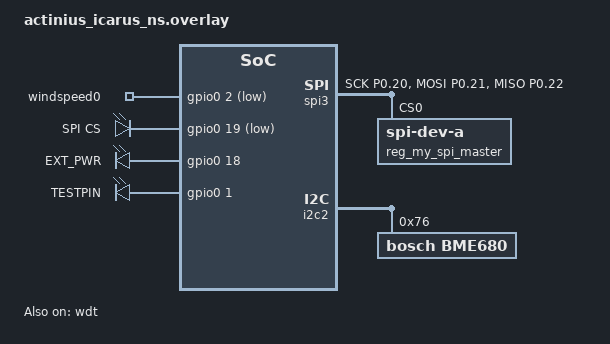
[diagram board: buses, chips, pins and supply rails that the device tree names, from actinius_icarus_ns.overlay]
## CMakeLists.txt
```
#
# Copyright (c) 2019-2022 Actinius
#
# SPDX-License-Identifier: BSD-3-Clause
#

cmake_minimum_required(VERSION 3.8.2)

find_package(Zephyr REQUIRED HINTS $ENV{ZEPHYR_BASE})
project(iss_position)

target_sources(app PRIVATE src/main.c)
target_sources(app PRIVATE src/leds.c)
target_sources(app PRIVATE src/adc.c)
target_sources(app PRIVATE src/health.c)
target_sources(app PRIVATE src/wind_sensor.c)
target_sources(app PRIVATE src/mqtt_connection.c)
target_sources(app PRIVATE src/cameraThread.c)
target_sources(app PRIVATE src/ArducamCamera.c)
target_sources(app PRIVATE src/nrfHal.c)
target_sources(app PRIVATE src/watchdog.c)
```

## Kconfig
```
#
# Copyright (c) 2020 Nordic Semiconductor ASA
#
# SPDX-License-Identifier: LicenseRef-Nordic-5-Clause
#

menu "Annie Momiter"

config MQTT_PRIMARY_TOPIC
	string "MQTT primary topic"
	default "zimbuktu"

config MQTT_CMD_TOPIC
	string "MQTT subscribe sub topic"
	default "zimbuktu/cmd"

config MQTT_CLIENT_ID
	string "MQTT Client ID"
	help
	  Use a custom Client ID string. If not set, the client ID will be
	  generated based on IMEI number (for nRF9160 based targets) or
	  randomly (for other platforms).
	default ""

config MQTT_BROKER_HOSTNAME
	string "MQTT broker hostname"
	default "test.mosquitto.org"

config MQTT_BROKER_PORT
	int "MQTT broker port"
	default 1883

config MQTT_MESSAGE_BUFFER_SIZE
	int "MQTT message buffer size"
	default 128

config MQTT_PAYLOAD_BUFFER_SIZE
	int "MQTT payload buffer size"
	default 128

config BUTTON_EVENT_PUBLISH_MSG
	string "The message to publish on a button event"
	default "Hi from the nRF9160 SiP"

config TURN_LED_ON_CMD
	string "Command to turn on LED"
	default "LED1ON"

config TURN_LED_OFF_CMD
	string "Command to turn off LED"
	default "LED1OFF"

config MQTT_RECONNECT_DELAY_S
	int "Seconds to delay before attempting to reconnect to the broker."
	default 60

config TEMP_DATA_USE_SENSOR
	bool "Use genuine temperature data"
	depends on BOARD_THINGY91_NRF9160_NS
	default y if BOARD_THINGY91_NRF9160_NS
	select SENSOR
	select BME680
	help
	  Sets whether to take genuine temperature measurements from a
	  connected BME680 sensor, or just simulate sensor data.
	  
endmenu

source "Kconfig.zephyr"
```

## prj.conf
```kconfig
CONFIG_LOG=y
CONFIG_LOG_DEFAULT_LEVEL=4

CONFIG_ENTROPY_GENERATOR=y
CONFIG_TEST_RANDOM_GENERATOR=y

CONFIG_MAIN_STACK_SIZE=4096
# Data Time
CONFIG_DATE_TIME=y
CONFIG_DATE_TIME_AUTO_UPDATE=y
CONFIG_NEWLIB_LIBC=y

# Networking
CONFIG_NETWORKING=y
CONFIG_NET_NATIVE=n
CONFIG_NET_SOCKETS_OFFLOAD=y

# Sockets
CONFIG_NET_SOCKETS=y
CONFIG_NET_SOCKETS_POSIX_NAMES=y

# Nordic REST client
CONFIG_REST_CLIENT=y

# Modem
CONFIG_NRF_MODEM_LIB=y
CONFIG_LTE_LINK_CONTROL=y
CONFIG_LTE_NETWORK_TIMEOUT=120
CONFIG_LTE_AUTO_INIT_AND_CONNECT=n
#CONFIG_MODEM_KEY_MGMT=y
CONFIG_MODEM_INFO=y

# JSON
#CONFIG_JSON_LIBRARY=y

# MCUBoot
CONFIG_BOOTLOADER_MCUBOOT=y

# watchdog
CONFIG_WATCHDOG=y

# MQTT
												   
CONFIG_MQTT_LIB=y
CONFIG_MQTT_CLEAN_SESSION=y

CONFIG_MQTT_PRIMARY_TOPIC="zimbuktu"
CONFIG_MQTT_CMD_TOPIC="zimbuktu/cmd"
# CONFIG_MQTT_BROKER_HOSTNAME="test.mosquitto.org"
# CONFIG_MQTT_BROKER_HOSTNAME="broker.hivemq.com"
CONFIG_MQTT_BROKER_HOSTNAME="107.174.172.150"
CONFIG_MQTT_CLIENT_ID="wind_sensor_client"
CONFIG_MQTT_BROKER_PORT=1883
CONFIG_MQTT_MESSAGE_BUFFER_SIZE=1024
CONFIG_MQTT_RECONNECT_DELAY_S=60

# Main thread
CONFIG_MAIN_STACK_SIZE=4096

CONFIG_HEAP_MEM_POOL_SIZE=2048

# Enable ADC for wind direction
CONFIG_ADC=y

# CONFIG_TEMP_DATA_USE_SENSOR=y

CONFIG_GPIO=y
CONFIG_SPI=y
CONFIG_SPI_ASYNC=y

CONFIG_I2C=y
CONFIG_SENSOR=y
```

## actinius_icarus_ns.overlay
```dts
// To get started, press Ctrl+Space to bring up the completion menu and view the available nodes.

// You can also use the buttons in the sidebar to perform actions on nodes.
// Actions currently available include:

// * Enabling / disabling the node
// * Adding the bus to a bus
// * Removing the node
// * Connecting ADC channels

// For more help, browse the DeviceTree documentation at https: //docs.zephyrproject.org/latest/guides/dts/index.html
// You can also visit the nRF DeviceTree extension documentation at https: //nrfconnect.github.io/vscode-nrf-connect/devicetree/nrfdevicetree.html
/{
	wind_speed {
		compatible = "gpio-keys";
		windspeed0: wind_speed_0 {
			gpios = <&gpio0 2 (GPIO_ACTIVE_LOW | GPIO_PULL_UP)>;
		};
	};
	leds {
		gpio_spi_cs: spi_cs {
			gpios = <&gpio0 19 GPIO_ACTIVE_LOW>;
			label = "SPI CS";
		};
		gpio_ext_pwr: ext_pwr {
			gpios = <&gpio0 18 GPIO_ACTIVE_HIGH>;
			label = "EXT_PWR";
		};
		gpio_testpin: testpin {
			gpios = <&gpio0 1 GPIO_ACTIVE_HIGH>;
			label = "TESTPIN";
		};
	};

	aliases {
		windspeed0 = &windspeed0;
		cs0 = &gpio_spi_cs;
		extpwr = &gpio_ext_pwr;
		testpin = &gpio_testpin;
	};
};

&sim_select {
	sim = "external";
};

&pwm0 {
	status = "disabled";
};

&pinctrl {
	spi_master_default: spi_master_default {
		group1 {
			psels = <NRF_PSEL(SPIM_SCK, 0, 20)>,
			        <NRF_PSEL(SPIM_MOSI, 0, 21)>,
			        <NRF_PSEL(SPIM_MISO, 0, 22)>;
		};
	};

	spi_master_sleep: spi_master_sleep {
		group1 {
			psels = <NRF_PSEL(SPIM_SCK, 0, 20)>,
			        <NRF_PSEL(SPIM_MOSI, 0, 21)>,
			        <NRF_PSEL(SPIM_MISO, 0, 22)>;
			low-power-enable;
		};
	};
};

my_spi_master: &spi3 {
	compatible = "nordic,nrf-spim";
	status = "okay";
	pinctrl-0 = <&spi_master_default>;
	pinctrl-1 = <&spi_master_sleep>;
	pinctrl-names = "default", "sleep";
	//    cs-gpios = <&gpio0 19 GPIO_ACTIVE_LOW>;
	reg_my_spi_master: spi-dev-a@0 {
		reg = <0>;
	};
};

&wdt {
	status = "okay";
};

&i2c2 {
	bme680@76 {
		compatible = "bosch,bme680";
		reg = <0x76>;
	};
};
```

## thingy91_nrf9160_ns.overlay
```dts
// To get started, press Ctrl+Space to bring up the completion menu and view the available nodes.

// You can also use the buttons in the sidebar to perform actions on nodes.
// Actions currently available include:

// * Enabling / disabling the node
// * Adding the bus to a bus
// * Removing the node
// * Connecting ADC channels

// For more help, browse the DeviceTree documentation at https: //docs.zephyrproject.org/latest/guides/dts/index.html
// You can also visit the nRF DeviceTree extension documentation at https: //nrfconnect.github.io/vscode-nrf-connect/devicetree/nrfdevicetree.html


/{
    wind_speed {
        compatible = "gpio-keys";
        windspeed0: wind_speed_0 {
            gpios = <&gpio0 10 (GPIO_PULL_UP | GPIO_ACTIVE_LOW)>;
        };
    };

	power_enable {
		compatible = "gpio-leds";
		fanenable: nmos_2 {
			gpios = <&gpio0 15 (GPIO_ACTIVE_HIGH)>;
			label = "fan power enable";
		};
		boostenable: nmos_3 {
			gpios = <&gpio0 16 (GPIO_ACTIVE_HIGH)>;
			label = "12v boost enable";
		};

	};
    aliases {
		windspeed0 = &windspeed0;
		fanenable = &fanenable;
		boostenable = &boostenable;
		temp-sensor = &bme680;
    };
	nrf52840_reset: gpio-reset {
		status = "disabled";
	};

};


&i2c2 {
bme680: bme680@76 {};
};

&pinctrl {
	pwm2_default: pwm2_default {
		group1 {
			psels = <NRF_PSEL(PWM_OUT0, 0, 13)>,
				<NRF_PSEL(PWM_OUT1, 0, 14)>;
		};
	};

	pwm2_sleep: pwm2_sleep {
		group1 {
			psels = <NRF_PSEL(PWM_OUT0, 0, 13)>,
				<NRF_PSEL(PWM_OUT1, 0, 14)>;

			low-power-enable;
		};
	};
};
```

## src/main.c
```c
/*
 * Copyright (c) 2019-2022 Actinius
 *
 * SPDX-License-Identifier: BSD-3-Clause
 */

#include <stdio.h>
#include <zephyr/kernel.h>
#include <zephyr/net/socket.h>
#include <modem/lte_lc.h>
#include <zephyr/drivers/gpio.h>

#include <zephyr/net/mqtt.h>
#include <date_time.h>
#include <modem/modem_info.h>

#include "mqtt_connection.h"
#include "wind_sensor.h"

#include "leds.h"
#include "adc.h"
#include "health.h"
#include "cameraThread.h"
#include "watchdog.h"

LOG_MODULE_REGISTER(main, LOG_LEVEL_INF);

extern int setenv(const char *name, const char *value, int overwrite);

static K_SEM_DEFINE(lte_connected, 0, 1);

#define TOPIC_STR "zimbuktu2/testing"

static void lte_handler(const struct lte_lc_evt *const evt)
{
    switch (evt->type)
    {
    case LTE_LC_EVT_NW_REG_STATUS:
        if ((evt->nw_reg_status != LTE_LC_NW_REG_REGISTERED_HOME) &&
            (evt->nw_reg_status != LTE_LC_NW_REG_REGISTERED_ROAMING))
        {
            break;
        }
        LOG_DBG("Network registration status: %s\n",
                evt->nw_reg_status == LTE_LC_NW_REG_REGISTERED_HOME ? "Connected - home network" : "Connected - roaming");
        k_sem_give(&lte_connected);
        break;
    case LTE_LC_EVT_RRC_UPDATE:
        LOG_DBG("RRC mode: %s\n", evt->rrc_mode == LTE_LC_RRC_MODE_CONNECTED ? "Connected" : "Idle");
        break;
    default:
        break;
    }
}

static void modem_configure(void)
{
    LOG_INF("Connecting to LTE network\n");

    int err = lte_lc_init_and_connect_async(lte_handler);
    if (err)
    {
        LOG_ERR("Modem could not be configured, error: %d\n", err);
        return;
    }
    k_sem_take(&lte_connected, K_FOREVER);
    turn_leds_on_with_color(CYAN);

    err = modem_info_init();
    if (err)
    {
        LOG_ERR("Failed to initialize modem info: %d", err);
    }
    
    LOG_INF("Connected to LTE network\n");
}

void main(void)
{
    int err;

    init_leds();
    turn_leds_on_with_color(WHITE);

    watchdog_init_and_start();

    init_adc();

    modem_configure();

    turn_leds_on_with_color(YELLOW);
    k_msleep(2000);
    cameraThreadInit();

    err = client_init();
    if (err)
    {
        LOG_ERR("Failed to initialize MQTT client: %d\n", err);
        return;
    }
    setenv("TZ", "PST8PDT", 1);
    struct _reent r;
    _tzset_r(&r);

    init_wind_sensor();
    init_health();

    mqtt_idleloop(); // does not return
}
```

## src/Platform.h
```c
/*
 * This file is part of the Arducam SPI Camera project.
 *
 * Copyright 2021 Arducam Technology co., Ltd. All Rights Reserved.
 *
 * This work is licensed under the MIT license, see the file LICENSE for details.
 *
 */

#ifndef __PLATFORM_H
#define __PLATFORM_H

#include "nrfHal.h"


#if defined(STM32F10X_MD)
#include "Stm32Hal.h"
#elif defined(__AVR__) || defined(__SAM3X8E__) || defined(ESP32) || defined(ESP8266) ||                                \
    defined(ARDUINO_ARCH_NRF52840) || defined(ARDUINO_ARCH_RP2040) || defined(NRF52833_XXAA) || defined(ARDUINO_ARCH_RENESAS)
#include "ArduinoHal.h"
#elif defined(__MSP430G2553__)
#include "Msp430Hal.h"
#elif defined(__XC32)
#include "Same54Hal.h"
#elif defined(PICO_BOARD)
#include "picoHal.h"
#elif defined(__PLATFORM_RASPBERRY)
#include "raspberryHal.h"
#elif defined(ESP_PLATFORM)
#include "esp32Hal.h"
#endif
#endif /*__PLATFORM_H*/
```

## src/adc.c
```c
#include <zephyr/drivers/adc.h>
#include "adc.h"
#include <zephyr/logging/log.h>
LOG_MODULE_REGISTER(adc, LOG_LEVEL_INF);

#define BATVOLT_R1 4.7f			 // MOhm
#define BATVOLT_R2 10.0f		 // MOhm
#define INPUT_VOLT_RANGE 3.67f	 // Volts
#define VALUE_RANGE_10_BIT 1.023 // (2^10 - 1) / 1000

#define ADC_NODE DT_NODELABEL(adc)

#define ADC_RESOLUTION 10
#define ADC_GAIN ADC_GAIN_1_6
#define ADC_REFERENCE ADC_REF_INTERNAL
#define ADC_ACQUISITION_TIME ADC_ACQ_TIME(ADC_ACQ_TIME_MICROSECONDS, 10)
#define ADC_1ST_CHANNEL_INPUT SAADC_CH_PSELP_PSELP_AnalogInput0
#define ADC_2ND_CHANNEL_INPUT SAADC_CH_PSELP_PSELP_AnalogInput2

#define BUFFER_SIZE 1
static int16_t m_sample_buffer[BUFFER_SIZE];

static const struct device *adc_dev;

// Battery voltage ADC
static const struct adc_channel_cfg m_battery_channel_cfg = {
	.gain = ADC_GAIN,
	.reference = ADC_REFERENCE,
	.acquisition_time = ADC_ACQUISITION_TIME,
	.channel_id = ADC_BATTERY_VOLTAGE_ID,
	.input_positive = ADC_1ST_CHANNEL_INPUT,
};

// Wind direction ADC
static const struct adc_channel_cfg m_windspeed_channel_cfg = {
	.gain = ADC_GAIN,
	.reference = ADC_REFERENCE,
	.acquisition_time = ADC_ACQUISITION_TIME,
	.channel_id = ADC_WIND_DIR_ID,
	.input_positive = ADC_2ND_CHANNEL_INPUT,
};

// Get battery voltage in millivolts, return 0 if successful
int get_adc_voltage(uint8_t channel, uint16_t *battery_voltage)
{
	int err;

	const struct adc_sequence sequence = {
		.channels = BIT(channel),
		.buffer = m_sample_buffer,
		.buffer_size = sizeof(m_sample_buffer), // in bytes!
		.resolution = ADC_RESOLUTION,
	};

	if (!adc_dev)
	{
		return -1;
	}

	err = adc_read(adc_dev, &sequence);
	if (err)
	{
		LOG_WRN("ADC read err: %d\n", err);

		return err;
	}

	float sample_value = 0;
	for (int i = 0; i < BUFFER_SIZE; i++)
	{
		sample_value += (float)m_sample_buffer[i];
	}
	//	printk("   buf: %d\n", m_sample_buffer[0] );
	sample_value /= BUFFER_SIZE;
	*battery_voltage = (uint16_t)(sample_value * (INPUT_VOLT_RANGE / VALUE_RANGE_10_BIT));
	//	*battery_voltage = (uint16_t)(sample_value * (INPUT_VOLT_RANGE / VALUE_RANGE_10_BIT) * ((BATVOLT_R1 + BATVOLT_R2) / BATVOLT_R2));

	return 0;
}

// initalize all ADC channels
bool init_adc()
{
	int err;

	adc_dev = DEVICE_DT_GET(ADC_NODE);
	if (!adc_dev)
	{
		LOG_WRN("Error getting adc failed\n");

		return false;
	}

	err = adc_channel_setup(adc_dev, &m_battery_channel_cfg);
	if (err)
	{
		LOG_WRN("Error in adc setup: %d\n", err);

		return false;
	}

	err = adc_channel_setup(adc_dev, &m_windspeed_channel_cfg);
	if (err)
	{
		LOG_WRN("Error in adc setup: %d\n", err);

		return false;
	}

	return true;
}
```

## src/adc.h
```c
#ifndef _ADC_H_
#define _ADC_H_

// ADC Channel IDs
#define ADC_BATTERY_VOLTAGE_ID 0
#define ADC_WIND_DIR_ID 1
#define ADC_TEMPERATURE_ID 2

/**
 * @brief Take a temperature sample.
 *
 * Value will either be a real sensor value taken from a sensor with device tree alias temp_sensor,
 * (if CONFIG_TEMP_DATA_USE_SENSOR is set) or will otherwise be a pseudorandom dummy reading.
 *
 * @param[out] temp - Pointer to the double to be filled with the taken temperature sample.
 * @return int - 0 on success, otherwise, negative error code.
 */
int get_adc_voltage(uint8_t channel, uint16_t *battery_voltage);
int get_temperature();
bool init_adc();

#endif /* _ADC_H_ */
```

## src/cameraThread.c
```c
#include <zephyr/kernel.h>
#include <stdio.h>
#include <stdlib.h>
#include <string.h>
#include <zephyr/net/mqtt.h>
#include "ArducamCamera.h"
#include "mqtt_connection.h"
#include "cameraThread.h"
#include "ArducamCamera.h"

#include <modem/modem_info.h>
#include "health.h"
#include "leds.h"

#define PIC_BUFFER_SIZE 1024 // CONFIG_MQTT_MESSAGE_BUFFER_SIZE
#define PIC_SEND_LENGTH 256	 // z should be PIC_BUFFER_SIZE, but there's corruption
// #define PIC_SEND_LENGTH 512	 // z should be PIC_BUFFER_SIZE, but there's corruption
#define WORK_DELAY 400 // image dim if quick startup
#define PICT_DELAY 1
#define START_DELAY 1
#define DATA_DELAY 200 // image fails if too quick
#define END_DELAY 1

#define CAMERA_THREAD_STACK_SIZE 4096
#define WORKQ_PRIORITY 4
#define MAX_CMD 10

static K_THREAD_STACK_DEFINE(camera_stack_area, CAMERA_THREAD_STACK_SIZE);
static struct k_work_q camera_work_q = {0};
struct work_info
{
	struct k_work work;
	char cmd;
	uint32_t param;
} camera_work;

ArducamCamera camera;
static bool sending = false;

/*
b brightness
c contrast
d color effect
e ev level
f autofocus
g autoexposure
h absoluteexposure
i isosensitivity
j autoiso
l lowpower
m send camera data out serial port
n create fake camera data
o send serial buffer
p picture
q imagequality
r reset
s sharpness
u saturation
w white balance
x white balance mode
*/
const char *singlecharcmds = "efhlmnopqsz";
// const char *singlecharcmds = "bcdefghijlmnopqrsuwx";

struct image_mode_t
{
	uint8_t mode;
	uint32_t min;
	uint32_t max;
};

const struct image_mode_t image_modes[] = {
	{CAM_IMAGE_MODE_96X96, 200, 8000},
	{CAM_IMAGE_MODE_128X128, 200, 12000},
	{CAM_IMAGE_MODE_QVGA, 1000, 45000},
	{CAM_IMAGE_MODE_320X320, 1000, 55000},
	{CAM_IMAGE_MODE_VGA, 1000, 150000},
	{CAM_IMAGE_MODE_HD, 2000, 500000},
	{CAM_IMAGE_MODE_UXGA, 200, 700000},
	{CAM_IMAGE_MODE_FHD, 200, 800000},
	{CAM_IMAGE_MODE_WQXGA2, 200, 1500000}};

static uint8_t pic_buffer[PIC_BUFFER_SIZE];

int network_info_log(int param)
{
	char sbuf[40];
	char msgbuf[100];
	switch (param)
	{
	case 0:
		modem_info_string_get(MODEM_INFO_RSRP, sbuf, sizeof(sbuf));
		snprintf(msgbuf, 100, "Signal strength: %s\n", sbuf);
		break;
	case 1:
		modem_info_string_get(MODEM_INFO_CUR_BAND, sbuf, sizeof(sbuf));
		snprintf(msgbuf, 100, "Current LTE band: %s\n", sbuf);
		break;
	}
	printk("%s", msgbuf);
	data_publish(MQTT_QOS_1_AT_LEAST_ONCE, msgbuf, strlen(msgbuf), "zimbuktu/modem", 0);

	// modem_info_string_get(MODEM_INFO_SUP_BAND, sbuf, sizeof(sbuf));
	// printk("Supported LTE bands: %s\n", sbuf);
	// modem_info_string_get(MODEM_INFO_AREA_CODE, sbuf, sizeof(sbuf));
	// printk("Tracking area code: %s\n", sbuf);
	// modem_info_string_get(MODEM_INFO_UE_MODE, sbuf, sizeof(sbuf));
	// printk("Current mode: %s\n", sbuf);
	// modem_info_string_get(MODEM_INFO_OPERATOR, sbuf, sizeof(sbuf));
	// printk("Current operator name: %s\n", sbuf);
	// modem_info_string_get(MODEM_INFO_CELLID, sbuf, sizeof(sbuf));
	// printk("Cell ID of the device: %s\n", sbuf);
	// modem_info_string_get(MODEM_INFO_IP_ADDRESS, sbuf, sizeof(sbuf));
	// printk("IP address of the device: %s\n", sbuf);
	// modem_info_string_get(MODEM_INFO_FW_VERSION, sbuf, sizeof(sbuf));
	// printk("Modem firmware version: %s\n", sbuf);
	// modem_info_string_get(MODEM_INFO_LTE_MODE, sbuf, sizeof(sbuf));
	// printk("LTE-M support mode: %s\n", sbuf);
	// modem_info_string_get(MODEM_INFO_NBIOT_MODE, sbuf, sizeof(sbuf));
	// printk("NB-IoT support mode: %s\n", sbuf);
	// modem_info_string_get(MODEM_INFO_GPS_MODE, sbuf, sizeof(sbuf));
	// printk("GPS support mode: %s\n", sbuf);
	// modem_info_string_get(MODEM_INFO_DATE_TIME, sbuf, sizeof(sbuf));
	// printk("Mobile network time and date: %s\n", sbuf);
	// printk("===============================");
	return 0;
}

bool sending_photo()
{
	return sending;
}
static uint8_t exposure = 0;
static uint8_t sharpness = 0;
static uint8_t focus = 4;
static uint8_t quality = 1;

int app_take_pict(uint8_t mode_index)
{
	uint8_t mode = image_modes[mode_index].mode;
	int err;
	int length = PIC_SEND_LENGTH;

	sending = true;
	if (takePicture(&camera,
					mode,
					CAM_IMAGE_PIX_FMT_JPG,
					exposure,
					sharpness,
					focus,
					quality) == CAM_ERR_TIMEOUT)
		return CAM_ERR_TIMEOUT;

	k_msleep(PICT_DELAY);
	printk("image size= %d\n", camera.receivedLength);

	if (camera.receivedLength < image_modes[mode_index].min ||
		camera.receivedLength > image_modes[mode_index].max)
	{
		sprintf(pic_buffer, "%d < %d %d", image_modes[mode_index].min, camera.receivedLength, image_modes[mode_index].max);
		err = data_publish(MQTT_QOS_1_AT_LEAST_ONCE, pic_buffer, strlen(pic_buffer), "zimbuktu/jpgError", 0);
		sending = false;
		printk("Length error\n");
		return CAM_ERR_LENGTH;
	}
	sprintf(pic_buffer, "%d", camera.receivedLength);
	err = data_publish(MQTT_QOS_1_AT_LEAST_ONCE, pic_buffer, strlen(pic_buffer), "zimbuktu/jpgStart", 0);

	k_msleep(START_DELAY);

	while (camera.receivedLength > 0)
	{
		printk(".");
		if (camera.receivedLength <= PIC_SEND_LENGTH)
		{
			printk("&");

			length = camera.receivedLength;
		}
		printk("-");

		readBuff(&camera, pic_buffer, length);
		printk("+");

		// for (int i = 0; i < length; ++i)
		// {
		// 	pic_buffer[i] = readByte(&camera);
		// }
		err = data_publish(MQTT_QOS_1_AT_LEAST_ONCE, pic_buffer, length, "zimbuktu/jpgData", 0);
		printk("!");

		k_msleep(DATA_DELAY);
	}
	printk("*");

	err = data_publish(MQTT_QOS_1_AT_LEAST_ONCE, "E", 1, "zimbuktu/jpgEnd", 0);
	k_msleep(END_DELAY);

	sending = false;
	return CAM_ERR_SUCCESS;
}

#define PBSIZE 256
static char uartbuf[PBSIZE*2 + 20];
int app_take_pict_serial_buffer(uint8_t mode_index)
{
	uint8_t mode = image_modes[mode_index].mode;
	
	printk("tpq=%d\n", quality);

	sending = true;
	if (takePicture(&camera,
					mode,
					CAM_IMAGE_PIX_FMT_JPG,
					exposure,
					sharpness,
					focus,
					quality) == CAM_ERR_TIMEOUT)
		return CAM_ERR_TIMEOUT;

	printk("START\n");
	printk("length= %d\n", camera.totalLength);

	if (camera.receivedLength < image_modes[mode_index].min ||
		camera.receivedLength > image_modes[mode_index].max)
	{
		sprintf(pic_buffer, "%d < %d %d", image_modes[mode_index].min, camera.receivedLength, image_modes[mode_index].min);
		printk("Length error\n");

		sending = false;
		return CAM_ERR_LENGTH;
	}

	int len = 0;
	while (camera.receivedLength > 0)
	{
		if (PBSIZE < camera.receivedLength)
			len = (PBSIZE < camera.receivedLength) ? PBSIZE : camera.receivedLength;
		if (len == 0)
			break;
		readBuff(&camera, pic_buffer, len);

		char *p = uartbuf;
		for (int i = 0; i < len; ++i)
		{
			p += snprintk(p, 3, "%02x", pic_buffer[i]);
		}
		printk("%s\n", uartbuf);
		k_msleep(DATA_DELAY);
	}
	printk("\nEND\n");
	sending = false;

	return CAM_ERR_SUCCESS;
}

void camera_work_handler(struct k_work *work)
{
	struct work_info *pinfo = CONTAINER_OF(work, struct work_info, work);
	
	switch (pinfo->cmd)
	{
	case 'e':
		exposure = pinfo->param;
		return;
	case 's':
		sharpness = pinfo->param;
		return;
	case 'f':
		focus = pinfo->param;
		return;
	case 'q':
		quality = pinfo->param;
		printk("set q=%d\n", quality);

		return;

	case 'h':
		report_status_info(pinfo->param);
		return;

	case 'l':
		set_led_mode(pinfo->param);
		return;

	case 'p':
	{
		int err = begin(&camera);
		if (CAM_ERR_SUCCESS == err)
		{
			k_msleep(WORK_DELAY);
			app_take_pict(pinfo->param % sizeof(image_modes));
		}
		else
		{
			printk("init failed\n");
		}
		cameraComplete(&camera);
		return;
	}
	case 'o':
	{
		int err = begin(&camera);
		if (CAM_ERR_SUCCESS == err)
		{
			k_msleep(WORK_DELAY);
			app_take_pict_serial_buffer(pinfo->param % sizeof(image_modes));
		}
		else
		{
			printk("init failed\n");
		}
		cameraComplete(&camera);
		return;
	}

	case 'z':
		network_info_log(pinfo->param);
		return;
	}
}

void cameraCommand(char *cmd)
{
	int err;

	if ((strlen(cmd) >= 2) && (strchr(singlecharcmds, cmd[0])))
	{
		if (cmd[0] == 'z' && cmd[1] == '!')
		{
			// reset the system immediately
			NVIC_SystemReset();
			while (1)
				;
		}

		camera_work.cmd = cmd[0];
		camera_work.param = atoi(&cmd[1]);
		err = k_work_submit_to_queue(&camera_work_q, &camera_work.work);
		printk("qsubmit: %d\n", err);
	}
	else
	{
		printk("invalid command: %s\n", cmd);
	}
}

void cameraThreadInit()
{
	printk("camera init start\n");
	camera = createArducamCamera(1);

	k_work_queue_start(&camera_work_q, camera_stack_area,
					   K_THREAD_STACK_SIZEOF(camera_stack_area), WORKQ_PRIORITY,
					   NULL);

	k_work_init(&camera_work.work, camera_work_handler);
	printk("camera init complete\n");
}
```

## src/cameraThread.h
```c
#ifndef __CAMERA_H
#define __CAMERA_H

bool sending_photo();
void cameraCommand(char *cmd);
void cameraThreadInit();
#endif /*__CAMERA_H*/
```

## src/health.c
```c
#include <zephyr/drivers/gpio.h>
#include <zephyr/drivers/sensor.h>
#include <zephyr/kernel.h>
#include <date_time.h>
#include <zephyr/net/mqtt.h>
#include <stdio.h>

#include "leds.h"
#include "health.h"
#include "adc.h"
#include "mqtt_connection.h"
#include <zephyr/logging/log.h>
LOG_MODULE_REGISTER(health, LOG_LEVEL_INF);

#define NUM_PWR 12

int n_pwr = NUM_PWR - 1;
uint16_t volts[NUM_PWR];
struct sensor_value temperature[NUM_PWR];
struct sensor_value pressure[NUM_PWR];
struct sensor_value humidity[NUM_PWR];

static uint16_t current_volts;

const struct device *const dev = DEVICE_DT_GET_ONE(bosch_bme680);

#define BATVOLT_R1 4.7f
#define BATVOLT_R2 10.0f

static int get_battery_voltage()
{
	uint16_t volts;
	int corrected;

	get_adc_voltage(ADC_BATTERY_VOLTAGE_ID, &volts);
	corrected = (volts * ((BATVOLT_R1 + BATVOLT_R2) / BATVOLT_R2));
	LOG_DBG("battery %d  %d\n", volts, corrected);
	return corrected;
}

void convert_to_farhenheit(struct sensor_value *temp)
{
	long tmp = (temp->val1 * 1000 + temp->val2 / 1000) * 9 / 5 + 32000;
	temp->val1 = tmp / 1000;
	temp->val2 = (tmp % 1000 + 50) / 100;
}


static void report_power(uint8_t *buf)
{
	struct sensor_value gas_res;
	current_volts = get_battery_voltage();
	volts[n_pwr] = current_volts;

	sensor_sample_fetch(dev);
	sensor_channel_get(dev, SENSOR_CHAN_AMBIENT_TEMP, &temperature[n_pwr]);
	convert_to_farhenheit(&temperature[n_pwr]);
	sensor_channel_get(dev, SENSOR_CHAN_PRESS, &pressure[n_pwr]);
	pressure[n_pwr].val2 = pressure[n_pwr].val2 / 10000;
	sensor_channel_get(dev, SENSOR_CHAN_HUMIDITY, &humidity[n_pwr]);
	sensor_channel_get(dev, SENSOR_CHAN_GAS_RES, &gas_res);

	buf += sprintf(buf, "{\"pwr\":[");

	for (int i = n_pwr; i < NUM_PWR + n_pwr; ++i)
	{
		buf += sprintf(buf, "[%d, %d.%d],",
					   volts[i % NUM_PWR],
					   temperature[i % NUM_PWR].val1, temperature[i % NUM_PWR].val2);
		// buf += sprintf(buf, "[%d, %d.%d, %d.%02d, %d],",
		// 			   volts[i % NUM_PWR],
		// 			   temperature[i % NUM_PWR].val1, temperature[i % NUM_PWR].val2,
		// 			   pressure[i % NUM_PWR].val1, pressure[i % NUM_PWR].val2, 
		// 			   humidity[i % NUM_PWR].val1 );
	}
	--buf; // remove the last comma
	sprintf(buf, "]}");
	printk("power report: %s\n", buf);
	n_pwr = (n_pwr - 1 + NUM_PWR) % NUM_PWR;
}

void publish_health_data()
{
	int err;

	uint8_t *msgbuf = get_mqtt_message_buf();
	uint8_t *topicbuf = get_mqtt_topic_buf();

	report_power(msgbuf);
	sprintf(topicbuf, "%s/health", CONFIG_MQTT_PRIMARY_TOPIC);

	time_t now;
	now = time(NULL);
	struct tm tm;
	gmtime_r(&now, &tm);

	if (tm.tm_hour == 20)
	{  // send health data at 6 am or 8 pm
		err = data_publish(MQTT_QOS_1_AT_LEAST_ONCE,
						msgbuf, strlen(msgbuf), topicbuf, 1);
		if (err)
		{
			LOG_WRN("Failed to send pwr message, %d\n", err);
			return;
		}
		update_led_mode();  // turn off the led
	}

}

static void publish_volts()
{
	uint8_t msgbuf[256];
	uint8_t * buf;
	char * topic = CONFIG_MQTT_PRIMARY_TOPIC"/volt";

	buf = msgbuf;
	buf += sprintf(buf, "{\"volt\":[");

	for (int i = n_pwr+1; i < NUM_PWR + n_pwr+1; ++i)
	{
		buf += sprintf(buf, "%d,", volts[i % NUM_PWR]);
	}
	--buf; // remove the last comma
	sprintf(buf, "]}");

	data_publish(MQTT_QOS_1_AT_LEAST_ONCE, msgbuf, strlen(msgbuf), topic, 0);
}

static void publish_temperature()
{
	uint8_t msgbuf[256];
	uint8_t * buf;
	char * topic = CONFIG_MQTT_PRIMARY_TOPIC"/temp";

	buf = msgbuf;
	buf += sprintf(buf, "{\"temp\":[");

	for (int i = n_pwr+1; i < NUM_PWR + n_pwr+1; ++i)
	{
		buf += sprintf(buf, "%d.%d,", temperature[i % NUM_PWR].val1, temperature[i % NUM_PWR].val2);
	}
	--buf; // remove the last comma
	sprintf(buf, "]}");

	data_publish(MQTT_QOS_1_AT_LEAST_ONCE, msgbuf, strlen(msgbuf), topic, 0);
}

static void publish_pressure()
{
	uint8_t msgbuf[256];
	uint8_t * buf;
	char * topic = CONFIG_MQTT_PRIMARY_TOPIC"/pres";

	buf = msgbuf;
	buf += sprintf(buf, "{\"pres\":[");

	for (int i = n_pwr+1; i < NUM_PWR + n_pwr+1; ++i)
	{
		buf += sprintf(buf, "%d.%02d,", pressure[i % NUM_PWR].val1, pressure[i % NUM_PWR].val2);
	}
	--buf; // remove the last comma
	sprintf(buf, "]}");

	data_publish(MQTT_QOS_1_AT_LEAST_ONCE, msgbuf, strlen(msgbuf), topic, 0);
}

static void publish_humidity()
{
	uint8_t msgbuf[256];
	uint8_t * buf;
	char * topic = CONFIG_MQTT_PRIMARY_TOPIC"/humd";

	buf = msgbuf;
	buf += sprintf(buf, "{\"humd\":[");

	for (int i = n_pwr+1; i < NUM_PWR + n_pwr+1; ++i)
	{
		buf += sprintf(buf, "%d,", humidity[i % NUM_PWR].val1);
	}
	--buf; // remove the last comma
	sprintf(buf, "]}");

	data_publish(MQTT_QOS_1_AT_LEAST_ONCE, msgbuf, strlen(msgbuf), topic, 0);
}


void report_status_info(int item)
{
	switch (item)
	{
	case 0:
		publish_volts();
		break;
	case 1:
		publish_temperature();
		break;
	case 2:
		publish_pressure();
		break;
	case 3:
		publish_humidity();
		break;
	default:
		break;
	}
}


void init_health()
{
	// struct sensor_value x;

	// testing conversion
	// x.val1 = 0;
	// x.val2 = 0;
	// convert_to_farhenheit(&x);
	// printk("0C = %d.%dF\n", x.val1, x.val2);

	// x.val1 = 27;
	// x.val2 = 230111;
	// convert_to_farhenheit(&x);
	// printk("27.230111C = %d.%dF\n", x.val1, x.val2);

	// x.val1 = 22;
	// x.val2 = 980000;
	// convert_to_farhenheit(&x);
	// printk("22.980000C = %d.%dF\n", x.val1, x.val2);

	if (!device_is_ready(dev))
	{
		printk("BME688 sensor: device not ready.\n");
		return;
	}
}
```

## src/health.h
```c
#ifndef _HEALTH_H_
#define _HEALTH_H_



void publish_health_data();
void report_status_info(int item);

void init_health();


#endif /* _HEALTH_H_ */
```

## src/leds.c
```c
#include <zephyr/drivers/gpio.h>
#include <zephyr/kernel.h>
#include "leds.h"
#include <zephyr/logging/log.h>
LOG_MODULE_REGISTER(leds, LOG_LEVEL_INF);

#define GPIO_NODE DT_NODELABEL(gpio0)
#define BUTTON_NODE DT_ALIAS(sw0)

#define RED_LED_NODE DT_ALIAS(led0)
#define GREEN_LED_NODE DT_ALIAS(led1)
#define BLUE_LED_NODE DT_ALIAS(led2)

#define LED_OFF 0
#define LED_ON !LED_OFF

static const struct device *gpio_dev;
static struct gpio_callback gpio_cb;

static const struct gpio_dt_spec button = GPIO_DT_SPEC_GET(BUTTON_NODE, gpios);

static struct gpio_dt_spec red_led = GPIO_DT_SPEC_GET(RED_LED_NODE, gpios);
static struct gpio_dt_spec green_led = GPIO_DT_SPEC_GET(GREEN_LED_NODE, gpios);
static struct gpio_dt_spec blue_led = GPIO_DT_SPEC_GET(BLUE_LED_NODE, gpios);

static bool button_pressed = false;
static enum led_mode led_mode = lmDelay;

void button_pressed_callback(const struct device *gpiob, struct gpio_callback *cb, gpio_port_pins_t pins)
{
    button_pressed = true;
}

void update_led_mode(void)
{
    if (led_mode == lmDelay)
    {
        led_mode = LmOff;
    }
}

void set_led_mode(enum led_mode mode)
{
    if (led_mode > LmOn)
    {
        led_mode = LmOff;
    }
    led_mode = mode;
}

bool init_button(void)
{
    int ret = gpio_pin_configure_dt(&button, GPIO_INPUT);
    led_mode = lmDelay;
    if (ret != 0)
    {
        LOG_WRN("Error %d: failed to configure %s pin %d\n",
                ret, button.port->name, button.pin);

        return false;
    }

    ret = gpio_pin_interrupt_configure_dt(&button, GPIO_INT_EDGE_TO_ACTIVE);
    if (ret != 0)
    {
        LOG_WRN("Error %d: failed to configure interrupt on %s pin %d\n",
                ret, button.port->name, button.pin);

        return false;
    }

    gpio_init_callback(&gpio_cb, button_pressed_callback, BIT(button.pin));
    gpio_add_callback(button.port, &gpio_cb);

    return true;
}

void init_leds(void)
{
    gpio_dev = DEVICE_DT_GET(GPIO_NODE);

    if (!gpio_dev)
    {
        LOG_WRN("Error getting GPIO device binding\r\n");

        return;
    }

    if (!init_button())
    {
        return;
    }

    gpio_pin_configure_dt(&red_led, GPIO_OUTPUT_INACTIVE);
    gpio_pin_configure_dt(&green_led, GPIO_OUTPUT_INACTIVE);
    gpio_pin_configure_dt(&blue_led, GPIO_OUTPUT_INACTIVE);
}

void turn_leds_off(void)
{
    gpio_pin_set_dt(&red_led, LED_OFF);
    gpio_pin_set_dt(&green_led, LED_OFF);
    gpio_pin_set_dt(&blue_led, LED_OFF);
}

void turn_leds_on_with_color(led_color_t color)
{
    if (led_mode == LmOff)
    {
        gpio_pin_set_dt(&red_led, LED_OFF);
        gpio_pin_set_dt(&green_led, LED_OFF);
        gpio_pin_set_dt(&blue_led, LED_OFF);
        return;
    }

    switch (color)
    {
    case RED:
        gpio_pin_set_dt(&red_led, LED_ON);
        gpio_pin_set_dt(&green_led, LED_OFF);
        gpio_pin_set_dt(&blue_led, LED_OFF);
        break;
    case GREEN:
        gpio_pin_set_dt(&red_led, LED_OFF);
        gpio_pin_set_dt(&green_led, LED_ON);
        gpio_pin_set_dt(&blue_led, LED_OFF);
        break;
    case BLUE:
        gpio_pin_set_dt(&red_led, LED_OFF);
        gpio_pin_set_dt(&green_led, LED_OFF);
        gpio_pin_set_dt(&blue_led, LED_ON);
        break;
    case MAGENTA:
        gpio_pin_set_dt(&red_led, LED_ON);
        gpio_pin_set_dt(&green_led, LED_OFF);
        gpio_pin_set_dt(&blue_led, LED_ON);
        break;
    case CYAN:
        gpio_pin_set_dt(&red_led, LED_OFF);
        gpio_pin_set_dt(&green_led, LED_ON);
        gpio_pin_set_dt(&blue_led, LED_ON);
        break;
    case YELLOW:
        gpio_pin_set_dt(&red_led, LED_ON);
        gpio_pin_set_dt(&green_led, LED_ON);
        gpio_pin_set_dt(&blue_led, LED_OFF);
        break;
    case WHITE:
        gpio_pin_set_dt(&red_led, LED_ON);
        gpio_pin_set_dt(&green_led, LED_ON);
        gpio_pin_set_dt(&blue_led, LED_ON);
        break;
    }
}
```

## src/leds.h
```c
#ifndef _LEDS_H_
#define _LED_H_

typedef enum
{
    RED,
    GREEN,
    BLUE,
    MAGENTA,
    CYAN,
    YELLOW,
    WHITE
} led_color_t;

enum led_mode { lmDelay, LmOff, LmOn};

void update_led_mode(void);
void set_led_mode(enum led_mode mode);
void init_leds(void);
void turn_leds_off(void);
void turn_leds_on_with_color(led_color_t color);


#endif /* _LED_H_ */
```

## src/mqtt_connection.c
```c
#include <stdio.h>
#include <string.h>

#include <zephyr/kernel.h>
#include <zephyr/random/rand32.h>
#include <zephyr/net/mqtt.h>
#include <nrf_modem_at.h>
#include <zephyr/logging/log.h>
#include "mqtt_connection.h"
#include "cameraThread.h"

/* Buffers for MQTT client. */
static uint8_t rx_buffer[CONFIG_MQTT_MESSAGE_BUFFER_SIZE];
static uint8_t tx_buffer[CONFIG_MQTT_MESSAGE_BUFFER_SIZE];
static uint8_t payload_buf[CONFIG_MQTT_PAYLOAD_BUFFER_SIZE];

/* MQTT Broker details. */
static struct sockaddr_storage broker;

/* The mqtt client struct */
static struct mqtt_client client;
/* File descriptor */
static struct pollfd fds;

// LOG_MODULE_DECLARE(AnnieM);
LOG_MODULE_REGISTER(mqtt_con, LOG_LEVEL_INF);

#define WAKEY_MODE "wake"
#define SAMPLE_FAST "fast"
#define SAMPLE_SLOW "slow"
#define REPORT "report"

K_SEM_DEFINE(publish_sem, 1, 1);

static uint8_t _mqtt_message_buf[500];
static uint8_t _mqtt_topic_buf[80];

uint8_t *get_mqtt_message_buf()
{
	return _mqtt_message_buf;
}

uint8_t *get_mqtt_topic_buf()
{
	return _mqtt_topic_buf;
}

/**@brief Function to get the payload of recived data.
 */
static int get_received_payload(struct mqtt_client *c, size_t length)
{
	int ret;
	int err = 0;

	/* Return an error if the payload is larger than the payload buffer.
	 * Note: To allow new messages, we have to read the payload before returning.
	 */
	if (length > sizeof(payload_buf))
	{
		err = -EMSGSIZE;
	}

	/* Truncate payload until it fits in the payload buffer. */
	while (length > sizeof(payload_buf))
	{
		ret = mqtt_read_publish_payload_blocking(
			c, payload_buf, (length - sizeof(payload_buf)));
		if (ret == 0)
		{
			return -EIO;
		}
		else if (ret < 0)
		{
			return ret;
		}

		length -= ret;
	}

	ret = mqtt_readall_publish_payload(c, payload_buf, length);
	if (ret)
	{
		return ret;
	}

	return err;
}

/**@brief Function to subscribe to the configured topic
 */
/* STEP 4 - Define the function subscribe() to subscribe to a specific topic.  */
static int subscribe(struct mqtt_client *const c)
{
	struct mqtt_topic subscribe_topic = {
		.topic = {
			.utf8 = CONFIG_MQTT_CMD_TOPIC,
			.size = strlen(CONFIG_MQTT_CMD_TOPIC)},
		.qos = MQTT_QOS_1_AT_LEAST_ONCE};
	const struct mqtt_subscription_list subscription_list = {
		.list = &subscribe_topic,
		.list_count = 1,
		.message_id = 1234};
	LOG_INF("Subscribing to: %s len %u\n", CONFIG_MQTT_CMD_TOPIC,
			(unsigned int)strlen(CONFIG_MQTT_CMD_TOPIC));
	return mqtt_subscribe(c, &subscription_list);
}

/**@brief Function to print strings without null-termination
 */
static void data_print(uint8_t *prefix, uint8_t *data, size_t len)
{
	char buf[len + 1];

	memcpy(buf, data, len);
	buf[len] = 0;
	printk("%s%s\n", (char *)prefix, (char *)buf);
}

/**@brief Function to publish data on the configured topic
 */
/* STEP 7.1 - Define the function data_publish() to publish data */
int data_publish(enum mqtt_qos qos,
				 uint8_t *data, size_t len, uint8_t *topic, uint8_t retain)
{
	//	printk("data_publish\n");
	if (0 != k_sem_take(&publish_sem, K_MSEC(19000)))
	{
		printk("data_publish timeout\n");
		return -1;
	}
	//	printk("data_publish taken\n");
	if (len > CONFIG_MQTT_MESSAGE_BUFFER_SIZE)
	{
		LOG_ERR("_mqtt_message_buf overflow: %d\n", len);
		len = CONFIG_MQTT_MESSAGE_BUFFER_SIZE - 1;
	}
	struct mqtt_publish_param param;
	param.message.topic.qos = qos;
	param.message.topic.topic.utf8 = topic; // CONFIG_MQTT_PUB_TOPIC;
	param.message.topic.topic.size = strlen(topic);
	param.message.payload.data = data;
	param.message.payload.len = len;
	param.message_id = sys_rand32_get();
	param.dup_flag = 0;
	param.retain_flag = retain;
	// if (len > 2 && len < 100)
	// {
	// 	data_print("Pub: ", data, len);
	// }
	//	printk("to topic: %s len: %u\n", topic, (unsigned int)strlen(topic));
	printk(" P\n  ");
	return mqtt_publish(&client, &param);
}

/**@brief MQTT client event handler
 */
void mqtt_evt_handler(struct mqtt_client *const c,
					  const struct mqtt_evt *evt)
{
	int err;

	switch (evt->type)
	{
	case MQTT_EVT_CONNACK:
		if (evt->result != 0)
		{
			LOG_WRN("MQTT connect failed: %d\n", evt->result);
			break;
		}
		LOG_INF("MQTT client connected\n");
		subscribe(c);
		break;

	case MQTT_EVT_DISCONNECT:
		LOG_WRN("MQTT client disconnected: %d\n", evt->result);
		break;

	case MQTT_EVT_PUBLISH:
		/* STEP 6 - Listen to published messages received from the broker and extract the message */
		{
			/* STEP 6.1 - Extract the payload */
			const struct mqtt_publish_param *p = &evt->param.publish;
			// Print the length of the recived message
			// LOG_INF("MQTT PUBLISH result=%d len=%d\n", evt->result, p->message.payload.len);
			// Extract the data of the recived message
			err = get_received_payload(c, p->message.payload.len);
			// Send acknowledgment to the broker on receiving QoS1 publish message
			if (p->message.topic.qos == MQTT_QOS_1_AT_LEAST_ONCE)
			{
				const struct mqtt_puback_param ack = {
					.message_id = p->message_id};
				/* Send acknowledgment. */
				mqtt_publish_qos1_ack(c, &ack);
			}
			/* STEP 6.2 - On successful extraction of data */
			// On successful extraction of data
			if (err >= 0)
			{
				cameraCommand(payload_buf);
			}
			/* STEP 6.3 - On failed extraction of data */
			// On failed extraction of data - Payload buffer is smaller than the recived data . Increase
			else if (err == -EMSGSIZE)
			{
				LOG_WRN("Received payload (%d bytes) is larger than the payload buffer size (%d bytes).\n",
						p->message.payload.len, sizeof(payload_buf));
				// On failed extraction of data - Failed to extract data, disconnect
			}
			else
			{
				LOG_WRN("get_received_payload failed: %d\n", err);
				LOG_WRN("Disconnecting MQTT client...\n");
				err = mqtt_disconnect(c);
				if (err)
				{
					LOG_WRN("Could not disconnect: %d\n", err);
				}
			}
		}
		break;

	case MQTT_EVT_PUBACK:
		if (evt->result != 0)
		{
			LOG_WRN("MQTT PUBACK error: %d\n", evt->result);
			break;
		}
		k_sem_give(&publish_sem);

		//		printk("PUBACK packet id: %u\n", evt->param.puback.message_id);
		break;

	case MQTT_EVT_SUBACK:
		if (evt->result != 0)
		{
			LOG_WRN("MQTT SUBACK error: %d\n", evt->result);
			break;
		}
		printk("SUBACK packet id: %u\n", evt->param.suback.message_id);
		break;

	case MQTT_EVT_PINGRESP:
		if (evt->result != 0)
		{
			LOG_WRN("MQTT PINGRESP error: %d\n", evt->result);
		}
		break;

	default:
		LOG_WRN("Unhandled MQTT event type: %d\n", evt->type);
		break;
	}
}

/**@brief Resolves the configured hostname and
 * initializes the MQTT broker structure
 */
static int broker_init(void)
{
	int err;
	struct sockaddr_in *broker4 = (struct sockaddr_in *)&broker;

	// Set the broker's IPv4 address and port
	broker4->sin_family = AF_INET;
	broker4->sin_port = htons(1883); // Default MQTT port
	err = inet_pton(AF_INET, "107.174.172.150", &broker4->sin_addr.s_addr);
	if (err <= 0)
	{
		LOG_WRN("Failed to set broker address: %d\n", err);
		return -ECHILD;
	}

	LOG_INF("Broker initialized with IP: 107.174.172.150, Port: 1883\n");
	return 0;
}

/* Function to get the client id */
static const uint8_t *client_id_get(void)
{
	static uint8_t client_id[MAX(sizeof(CONFIG_MQTT_CLIENT_ID), CLIENT_ID_LEN)];

	snprintf(client_id, sizeof(client_id), CONFIG_MQTT_CLIENT_ID);
	LOG_DBG("client_id = %s", (char *)(client_id));

	return client_id;
}

/**@brief Initialize the MQTT client structure
 */
/* STEP 3 - Define the function client_init() to initialize the MQTT client instance.  */
int client_init()
{
	int err;

	/* Initialize the client instance */
	mqtt_client_init(&client);

	/* Initialize the broker */
	err = broker_init();
	if (err)
	{
		LOG_WRN("Failed to initialize broker connection\n");
		return err;
	}

	/* MQTT client configuration */
	client.broker = &broker;
	client.evt_cb = mqtt_evt_handler;
	client.client_id.utf8 = client_id_get();
	client.client_id.size = strlen(client.client_id.utf8);

	// Set username and password
	static struct mqtt_utf8 username = {
		.utf8 = "wind_sensor",
		.size = 11};
	static struct mqtt_utf8 password = {
		.utf8 = "SauvieWing6.4",
		.size = 13};

	client.user_name = &username;
	client.password = &password;

	client.protocol_version = MQTT_VERSION_3_1_1;

	/* MQTT buffers configuration */
	client.rx_buf = rx_buffer;
	client.rx_buf_size = sizeof(rx_buffer);
	client.tx_buf = tx_buffer;
	client.tx_buf_size = sizeof(tx_buffer);

	/* Non-secure transport */
	client.transport.type = MQTT_TRANSPORT_NON_SECURE;

	LOG_INF("MQTT client initialized with username: wind_sensor\n");
	return err;
}

void mqtt_idleloop()
{
	int err;
	uint32_t connect_attempt = 0;

do_connect:
	if (connect_attempt++ > 0)
	{
		LOG_INF("Reconnecting in %d seconds...\n",
				CONFIG_MQTT_RECONNECT_DELAY_S);
		k_sleep(K_SECONDS(CONFIG_MQTT_RECONNECT_DELAY_S));
	}
	err = mqtt_connect(&client);
	if (err)
	{
		LOG_WRN("Error in mqtt_connect: %d\n", err);
		goto do_connect;
	}

	err = fds_init(&client, &fds);
	if (err)
	{
		LOG_WRN("Error in fds_init: %d\n", err);
		return;
	}

	while (1)
	{
		err = poll(&fds, 1, mqtt_keepalive_time_left(&client));
		if (err < 0)
		{
			LOG_WRN("Error in poll(): %d\n", errno);
			break;
		}

		err = mqtt_live(&client);
		if ((err != 0) && (err != -EAGAIN))
		{
			LOG_WRN("Error in mqtt_live: %d\n", err);
			break;
		}

		if ((fds.revents & POLLIN) == POLLIN)
		{
			err = mqtt_input(&client);
			if (err != 0)
			{
				LOG_WRN("Error in mqtt_input: %d\n", err);
				break;
			}
		}

		if ((fds.revents & POLLERR) == POLLERR)
		{
			LOG_WRN("POLLERR\n");
			break;
		}

		if ((fds.revents & POLLNVAL) == POLLNVAL)
		{
			LOG_WRN("POLLNVAL\n");
			break;
		}
	}

	LOG_INF("Disconnecting MQTT client\n");

	err = mqtt_disconnect(&client);
	if (err)
	{
		LOG_WRN("Could not disconnect MQTT client: %d\n", err);
	}
	goto do_connect;
}

/**@brief Initialize the file descriptor structure used by poll.
 */
int fds_init(struct mqtt_client *c, struct pollfd *fds)
{
	if (c->transport.type == MQTT_TRANSPORT_NON_SECURE)
	{
		fds->fd = c->transport.tcp.sock;
	}
	else
	{
		return -ENOTSUP;
	}

	fds->events = POLLIN;

	return 0;
}
```
